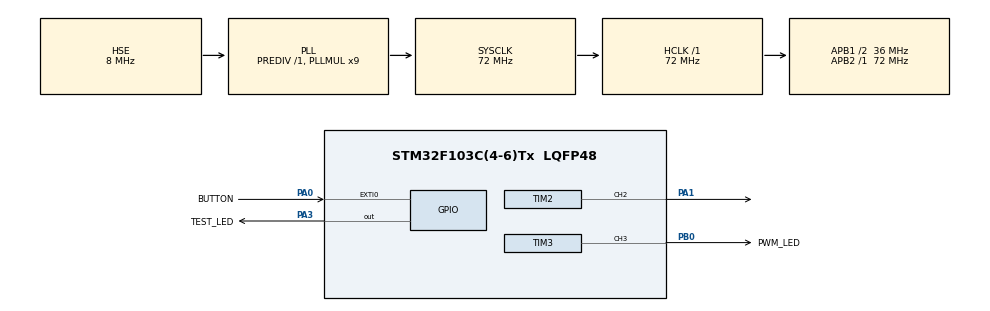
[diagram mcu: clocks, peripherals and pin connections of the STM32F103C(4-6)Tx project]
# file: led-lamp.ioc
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Dma.Request0=TIM3_CH3
Dma.TIM3_CH3.0.Direction=DMA_MEMORY_TO_PERIPH
Dma.TIM3_CH3.0.Instance=DMA1_Channel2
Dma.TIM3_CH3.0.MemDataAlignment=DMA_MDATAALIGN_HALFWORD
Dma.TIM3_CH3.0.MemInc=DMA_MINC_ENABLE
Dma.TIM3_CH3.0.Mode=DMA_NORMAL
Dma.TIM3_CH3.0.PeriphDataAlignment=DMA_PDATAALIGN_HALFWORD
Dma.TIM3_CH3.0.PeriphInc=DMA_PINC_DISABLE
Dma.TIM3_CH3.0.Priority=DMA_PRIORITY_LOW
Mcu.Family=STM32F1
Mcu.Name=STM32F103C(4-6)Tx
Mcu.Package=LQFP48
NVIC.DMA1_Channel2_IRQn=true\:0\:0\:false\:false\:true\:false\:true\:true
NVIC.PriorityGroup=NVIC_PRIORITYGROUP_4
PA0-WKUP.GPIO_Label=BUTTON
PA0-WKUP.GPIO_PuPd=GPIO_PULLDOWN
PA0-WKUP.Signal=GPXTI0
PA1.Signal=S_TIM2_CH2
PA13.Mode=Serial_Wire
PA13.Signal=SYS_JTMS-SWDIO
PA14.Mode=Serial_Wire
PA14.Signal=SYS_JTCK-SWCLK
PA3.GPIO_Label=TEST_LED
PA3.Signal=GPIO_Output
PB0.GPIO_Label=PWM_LED
PB0.Signal=S_TIM3_CH3
PD0-OSC_IN.Mode=HSE-External-Oscillator
PD0-OSC_IN.Signal=RCC_OSC_IN
PD1-OSC_OUT.Mode=HSE-External-Oscillator
PD1-OSC_OUT.Signal=RCC_OSC_OUT
ProjectManager.HeapSize=0x200
ProjectManager.StackSize=0x400
ProjectManager.TargetToolchain=STM32CubeIDE
RCC.AHBFreq_Value=72000000
RCC.APB1CLKDivider=RCC_HCLK_DIV2
RCC.APB1Freq_Value=36000000
RCC.APB1TimFreq_Value=72000000
RCC.APB2Freq_Value=72000000
RCC.APB2TimFreq_Value=72000000
RCC.HCLKFreq_Value=72000000
RCC.PLLMUL=RCC_PLL_MUL9
RCC.PLLSourceVirtual=RCC_PLLSOURCE_HSE
RCC.SYSCLKFreq_VALUE=72000000
RCC.SYSCLKSource=RCC_SYSCLKSOURCE_PLLCLK
RCC.USBFreq_Value=72000000
SH.S_TIM2_CH2.0=TIM2_CH2,Output Compare2 CH2
SH.S_TIM3_CH3.0=TIM3_CH3,PWM Generation3 CH3
TIM2.Channel-Output\ Compare2\ CH2=TIM_CHANNEL_2
TIM2.Period=144-1
TIM3.Channel-PWM\ Generation3\ CH3=TIM_CHANNEL_3
TIM3.Period=144-1
board=custom

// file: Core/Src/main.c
/* USER CODE BEGIN Header */
/**
  ******************************************************************************
  * @file           : main.c
  * @brief          : Main program body
  ******************************************************************************
  * @attention
  *
  * Copyright (c) 2023 STMicroelectronics.
  * All rights reserved.
  *
  * This software is licensed under terms that can be found in the LICENSE file
  * in the root directory of this software component.
  * If no LICENSE file comes with this software, it is provided AS-IS.
  *
  ******************************************************************************
  */
/* USER CODE END Header */
#include "main.h"
#include "dma.h"
#include "tim.h"
#include "gpio.h"

/* USER CODE BEGIN Includes */
#include "led.h"
/* USER CODE END Includes */

/* USER CODE BEGIN PV */
int i = 0;

extern uint16_t BUF_DMA[ARRAY_LEN];
int Button = 0;
uint16_t But = 0;
uint8_t check = 0;
uint8_t s = 0;
int time = 0;
int t = 0;
uint8_t flag = 0;

/* USER CODE END PV */

void SystemClock_Config(void);

/* USER CODE BEGIN 0 */
void HAL_GPIO_EXTI_Callback(uint16_t GPIO_Pin)
{
	if (GPIO_Pin == BUTTON_Pin) Button++;
//	if (But == 2 || But == 3) Button++;
//	if (But == 2 || But == 3) check++;
	if (Button == 12) Button = 1;
	check = 0;
}
/* USER CODE END 0 */

int main(void)
{

  /* MCU Configuration--------------------------------------------------------*/

  /* Reset of all peripherals, Initializes the Flash interface and the Systick. */
  HAL_Init();

  /* Configure the system clock */
  SystemClock_Config();

  /* Initialize all configured peripherals */
  MX_GPIO_Init();
  MX_DMA_Init();
  MX_TIM2_Init();
  MX_TIM3_Init();
  /* USER CODE BEGIN 2 */
  HAL_TIM_Base_Start(&htim2);
//	led_init();
//	led_start();
  /* USER CODE END 2 */

  /* Infinite loop */
  /* USER CODE BEGIN WHILE */
  while (1)
  {
//	  moth();
//	  HAL_Delay(1000);
//	  color(6);
	  uint16_t n = 0;
	  if (HAL_GPIO_ReadPin(BUTTON_GPIO_Port, BUTTON_Pin))
	  {
		  uint32_t t0 = TIM2->CNT;
		  while (HAL_GPIO_ReadPin(BUTTON_GPIO_Port, BUTTON_Pin))
		  {
			  if (TIM2->CNT > t0) time += TIM2->CNT - t0;
			  else time += 1999 + TIM2->CNT - t0;
			  if (time > 10000)
			  {
				  check = 1;
				  flag = 1;
				  n = Button;
				  if (s == 0 && Button != 1)
				  {
					  light_regulator(0);
				  }
				  if (s == 1 && Button != 1)
				  {
					  light_regulator(1);
				  }
			  }
				  HAL_Delay(5);
		  }
		  if (time < 10000)
		  {
			  time = 0;
		  }

		  time = 0;
	  }

	  if (flag == 1) {
		  if (s == 1)
		  {
			  s = 0;
		  }
		  else
		  {
			  s = 1;
		  }
		  Button--;
		  flag = 0;
	  }
	  if (Button == 1 && check == 0)
	  {
		  fire();
	  }
	  if (Button == 2 && check == 0)
	  {
		  moth();
	  }
	  if (Button == 3 && check == 0)
	  {
		  color(0);
		  s = 0;
	  }
	  if (Button == 4 && check == 0)
	  {
		  color(1);
		  s = 0;
	  }
	  if (Button == 5 && check == 0)
	  {
		  color(2);
		  s = 0;
	  }
	  if (Button == 6 && check == 0)
	  {
		  color(3);
		  s = 0;
	  }
	  if (Button == 7 && check == 0)
	  {
		  color(4);
		  s = 0;
	  }
	  if (Button == 8 && check == 0)
	  {
		  color(5);
		  s = 0;
	  }
	  if (Button == 9 && check == 0)
	  {
		  color(6);
		  s = 0;
	  }
	  if (Button == 10 && check == 0)
	  {
		  color(7);
		  s = 0;
	  }
	  if (Button == 11 && check == 0)
	  {
		  color(8);
		  s = 0;
	  }
	  HAL_Delay(100);
    /* USER CODE END WHILE */

  }
}

void SystemClock_Config(void)
{
  RCC_OscInitTypeDef RCC_OscInitStruct = {0};
  RCC_ClkInitTypeDef RCC_ClkInitStruct = {0};

  /** Initializes the RCC Oscillators according to the specified parameters
  * in the RCC_OscInitTypeDef structure.
  */
  RCC_OscInitStruct.OscillatorType = RCC_OSCILLATORTYPE_HSE;
  RCC_OscInitStruct.HSEState = RCC_HSE_ON;
  RCC_OscInitStruct.HSEPredivValue = RCC_HSE_PREDIV_DIV1;
  RCC_OscInitStruct.HSIState = RCC_HSI_ON;
  RCC_OscInitStruct.PLL.PLLState = RCC_PLL_ON;
  RCC_OscInitStruct.PLL.PLLSource = RCC_PLLSOURCE_HSE;
  RCC_OscInitStruct.PLL.PLLMUL = RCC_PLL_MUL9;
  if (HAL_RCC_OscConfig(&RCC_OscInitStruct) != HAL_OK)
  {
    Error_Handler();
  }

  /** Initializes the CPU, AHB and APB buses clocks
  */
  RCC_ClkInitStruct.ClockType = RCC_CLOCKTYPE_HCLK|RCC_CLOCKTYPE_SYSCLK
                              |RCC_CLOCKTYPE_PCLK1|RCC_CLOCKTYPE_PCLK2;
  RCC_ClkInitStruct.SYSCLKSource = RCC_SYSCLKSOURCE_PLLCLK;
  RCC_ClkInitStruct.AHBCLKDivider = RCC_SYSCLK_DIV1;
  RCC_ClkInitStruct.APB1CLKDivider = RCC_HCLK_DIV2;
  RCC_ClkInitStruct.APB2CLKDivider = RCC_HCLK_DIV1;

  if (HAL_RCC_ClockConfig(&RCC_ClkInitStruct, FLASH_LATENCY_2) != HAL_OK)
  {
    Error_Handler();
  }
}

void Error_Handler(void)
{
  __disable_irq();
  while (1)
  {
  }
}
